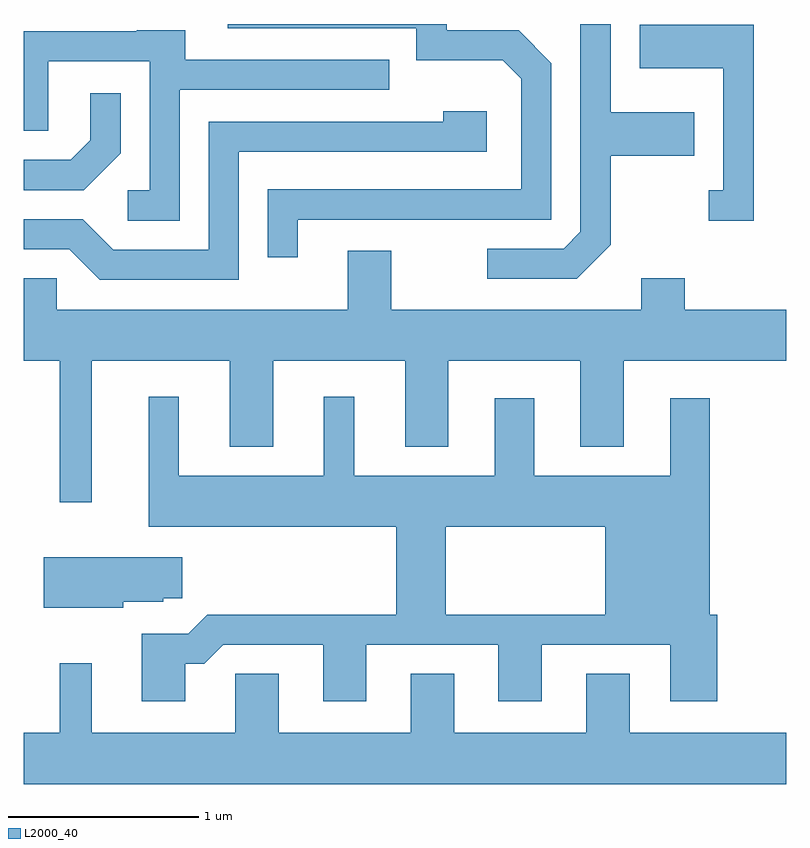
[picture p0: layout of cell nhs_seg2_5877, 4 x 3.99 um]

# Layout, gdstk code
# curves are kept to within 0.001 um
import gdstk
lib = gdstk.Library(unit=1e-6, precision=1e-09)
def P(c, l, *ps):  # polygons
    for p in ps: c.add(gdstk.Polygon(p, *l))
L2000_40 = (2000, 40)

nhs_seg2_5877 = lib.new_cell('nhs_seg2_5877')
P(nhs_seg2_5877, L2000_40, [(360.689,1106.644),(360.689,1107.111),(361.129,1107.111),(361.129,1107.339),(360.689,1107.339),(360.689,1107.802),(360.531,1107.802),(360.531,1106.712),(360.444,1106.624),(360.043,1106.624),(360.043,1106.466),(360.512,1106.466)],
  [(359.049,1106.776),(360.379,1106.776),(360.379,1107.597),(360.207,1107.769),(359.829,1107.769),(359.829,1107.802),(358.681,1107.802),(358.681,1107.781),(359.671,1107.781),(359.671,1107.611),(360.124,1107.611),(360.221,1107.514),(360.221,1106.934),(358.891,1106.934),(358.891,1106.578),(359.049,1106.578)],
  [(361.439,1107.799),(360.841,1107.799),(360.841,1107.571),(361.281,1107.571),(361.281,1106.929),(361.203,1106.929),(361.203,1106.771),(361.439,1106.771)],
  [(358.429,1107.456),(359.528,1107.456),(359.528,1107.614),(358.459,1107.614),(358.459,1107.769),(358.205,1107.769),(358.205,1107.764),(357.611,1107.764),(357.611,1107.241),(357.739,1107.241),(357.739,1107.606),(358.271,1107.606),(358.271,1106.929),(358.158,1106.929),(358.158,1106.771),(358.429,1106.771)],
  [(358.119,1107.124),(358.119,1107.438),(357.961,1107.438),(357.961,1107.192),(357.859,1107.089),(357.611,1107.089),(357.611,1106.931),(357.927,1106.931)],
  [(358.739,1107.131),(360.039,1107.131),(360.039,1107.344),(359.811,1107.344),(359.811,1107.289),(358.581,1107.289),(358.581,1106.619),(358.082,1106.619),(357.922,1106.779),(357.611,1106.779),(357.611,1106.621),(357.849,1106.621),(358.009,1106.461),(358.739,1106.461)],
  [(357.969,1106.036),(358.691,1106.036),(358.691,1105.586),(358.919,1105.586),(358.919,1106.036),(359.611,1106.036),(359.611,1105.586),(359.839,1105.586),(359.839,1106.036),(360.531,1106.036),(360.531,1105.586),(360.759,1105.586),(360.759,1106.036),(361.611,1106.036),(361.611,1106.304),(361.079,1106.304),(361.079,1106.469),(360.851,1106.469),(360.851,1106.304),(359.539,1106.304),(359.539,1106.614),(359.311,1106.614),(359.311,1106.304),(357.784,1106.304),(357.784,1106.469),(357.611,1106.469),(357.611,1106.036),(357.801,1106.036),(357.801,1105.293),(357.969,1105.293)],
  [(358.459,1104.446),(358.557,1104.446),(358.657,1104.546),(359.181,1104.546),(359.181,1104.251),(359.409,1104.251),(359.409,1104.546),(360.101,1104.546),(360.101,1104.251),(360.329,1104.251),(360.329,1104.546),(361.001,1104.546),(361.001,1104.251),(361.249,1104.251),(361.249,1104.704),(361.209,1104.704),(361.209,1105.839),(361.001,1105.839),(361.001,1105.434),(360.289,1105.434),(360.289,1105.839),(360.081,1105.839),(360.081,1105.434),(359.344,1105.434),(359.344,1105.848),(359.186,1105.848),(359.186,1105.434),(358.424,1105.434),(358.424,1105.848),(358.266,1105.848),(358.266,1105.166),(359.566,1105.166),(359.566,1104.704),(359.824,1104.704),(359.824,1105.166),(360.661,1105.166),(360.661,1104.704),(358.574,1104.704),(358.474,1104.604),(358.231,1104.604),(358.231,1104.251),(358.459,1104.251)],
  [(358.134,1104.771),(358.344,1104.771),(358.344,1104.791),(358.444,1104.791),(358.444,1105.004),(357.716,1105.004),(357.716,1104.741),(358.134,1104.741)],
  [(361.611,1104.084),(360.789,1104.084),(360.789,1104.394),(360.561,1104.394),(360.561,1104.084),(359.869,1104.084),(359.869,1104.394),(359.641,1104.394),(359.641,1104.084),(358.949,1104.084),(358.949,1104.394),(358.721,1104.394),(358.721,1104.084),(357.969,1104.084),(357.969,1104.448),(357.801,1104.448),(357.801,1104.084),(357.611,1104.084),(357.611,1103.816),(361.611,1103.816)])

lib.write_gds('nhs_seg2_5877.gds')
